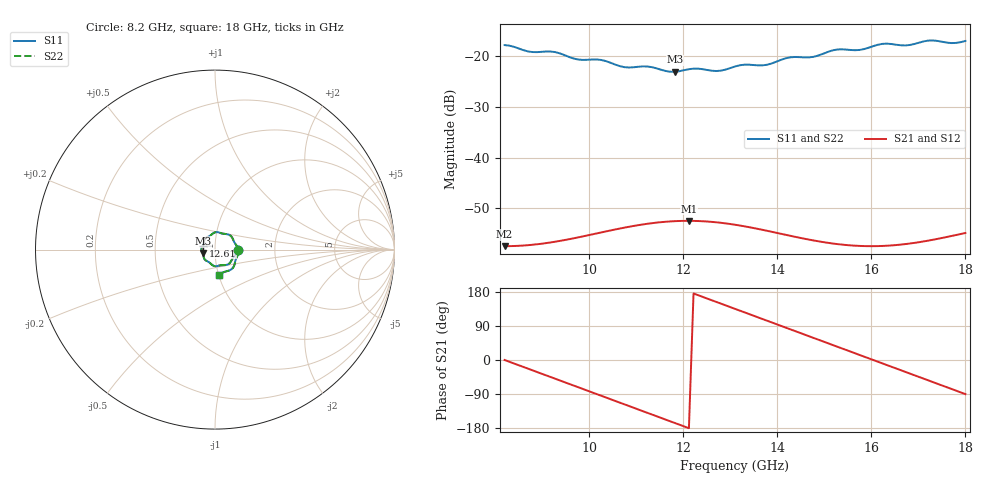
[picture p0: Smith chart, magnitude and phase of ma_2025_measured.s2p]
! Benchmark Measurement Data: Ma et al. (2025) [Adv. Funct. Mater.]
! Total Thickness d = 1.45 mm, FBW = 64.0%, Rozanov Ratio = 0.735
# Hz S RI R 50
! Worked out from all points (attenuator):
!   101 points, 8.2 GHz to 18 GHz, reference 50 ohm
!   highest |S21| = -52.50 dB at 12.12 GHz (marker M1); lowest = -57.5 dB at 8.2 GHz (marker M2)
!   lowest |S11| = -23.1 dB at 11.83 GHz (marker M3), VSWR 1.15, Z = 43.7 - j1.79 ohm
!   |S11| at or under -10 dB: start of sweep to end of sweep
!   |S22| runs from -23.1 to -16.9 dB; largest |S21 - S12| = 0
!   S11 on the Smith chart (normalised r, x): 8.2 GHz: 1.30, +0.00; 12.61 GHz: 0.87, +0.04; 18 GHz: 1.00, -0.29
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8.2e9  0.1287 0  0.00133 0  0.00133 0  0.1287 0
8.788e9  0.0985 -0.049  0.00123 -0.000625  0.00123 -0.000625  0.0985 -0.049
9.278e9  0.0727 -0.0822  0.000959 -0.00112  0.000959 -0.00112  0.0727 -0.0822
9.866e9  0.0238 -0.0888  0.000389 -0.00162  0.000389 -0.00162  0.0238 -0.0888
1.0258e10  -0.00418 -0.0917  -0.000143 -0.00182  -0.000143 -0.00182  -0.00418 -0.0917
1.0748e10  -0.0325 -0.0709  -0.000922 -0.00181  -0.000922 -0.00181  -0.0325 -0.0709
1.1238e10  -0.0576 -0.0543  -0.00169 -0.00144  -0.00169 -0.00144  -0.0576 -0.0543
1.1532e10  -0.0636 -0.0368  -0.00205 -0.00105  -0.00205 -0.00105  -0.0636 -0.0368
1.1826e10  -0.0672 -0.0203  -0.00229 -0.00055  -0.00229 -0.00055  -0.0672 -0.0203
1.212e10  -0.0743 -0.00468  -0.00237 -1.34e-18  -0.00237 -1.34e-18  -0.0743 -0.00468
1.261e10  -0.0682 0.0227  -0.00214 0.000886  -0.00214 0.000886  -0.0682 0.0227
1.31e10  -0.0602 0.0514  -0.00153 0.00153  -0.00153 0.00153  -0.0602 0.0514
1.3786e10  -0.0263 0.0781  -0.000441 0.00184  -0.000441 0.00184  -0.0263 0.0781
1.4276e10  0.00582 0.0974  0.000264 0.00167  0.000264 0.00167  0.00582 0.0974
1.4766e10  0.0424 0.089  0.000794 0.0013  0.000794 0.0013  0.0424 0.089
1.5256e10  0.0857 0.0785  0.00113 0.000824  0.00113 0.000824  0.0857 0.0785
1.5746e10  0.108 0.0402  0.0013 0.000313  0.0013 0.000313  0.108 0.0402
1.6432e10  0.1297 -0.0239  0.00129 -0.000419  0.00129 -0.000419  0.1297 -0.0239
1.6726e10  0.117 -0.0513  0.00119 -0.000731  0.00119 -0.000731  0.117 -0.0513
1.7216e10  0.0996 -0.1022  0.00089 -0.00123  0.00089 -0.00123  0.0996 -0.1022
1.7706e10  0.051 -0.1248  0.000392 -0.00163  0.000392 -0.00163  0.051 -0.1248
1.8e10  0.0221 -0.1396  5.51e-19 -0.0018  5.51e-19 -0.0018  0.0221 -0.1396
